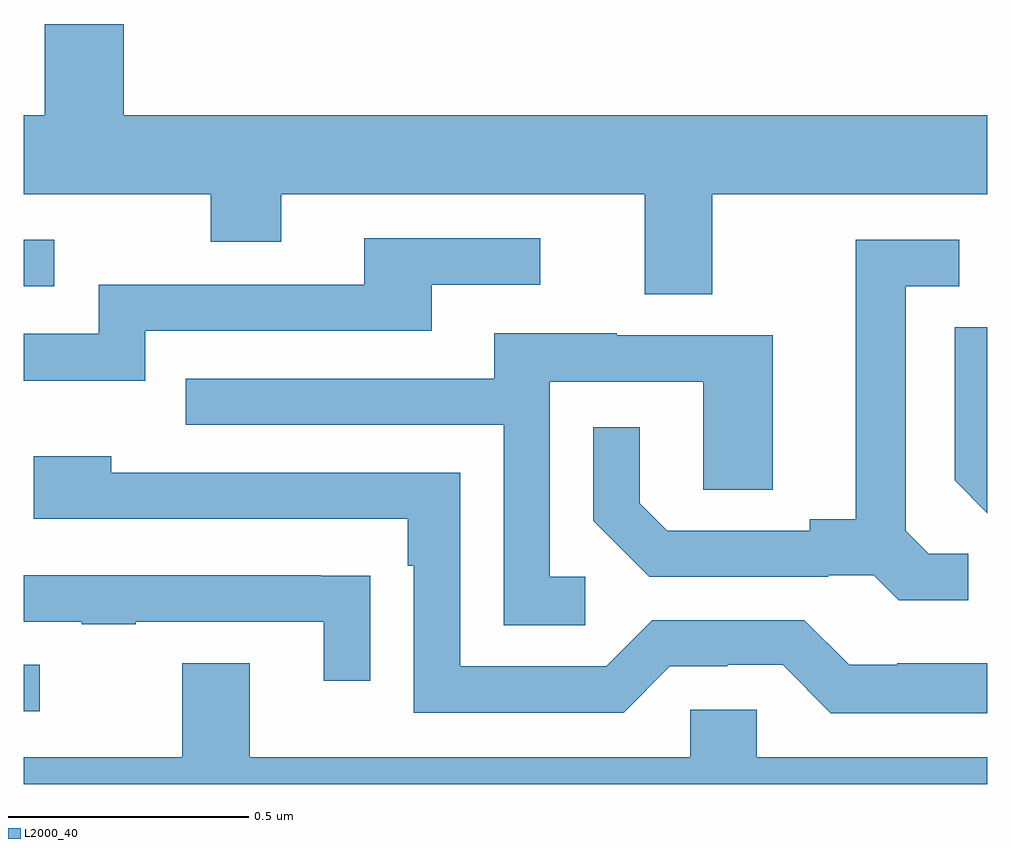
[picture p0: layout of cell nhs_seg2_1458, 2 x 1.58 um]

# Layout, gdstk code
import gdstk
lib = gdstk.Library(unit=1e-6, precision=1e-09)
def R(c, l, rs):  # rectangles x0, y0, x1, y1
    for r in rs: c.add(gdstk.rectangle(r[:2], r[2:], *l))
def P(c, l, *ps):  # polygons
    for p in ps: c.add(gdstk.Polygon(p, *l))
L2000_40 = (2000, 40)

nhs_seg2_1458 = lib.new_cell('nhs_seg2_1458')
R(nhs_seg2_1458, L2000_40, [(129,591.951,129.034,592.047), (129,592.833,129.064,592.929)])
P(nhs_seg2_1458, L2000_40, [(130.429,593.024),(131,593.024),(131,593.188),(129.208,593.188),(129.208,593.377),(129.044,593.377),(129.044,593.188),(129,593.188),(129,593.024),(129.388,593.024),(129.388,592.925),(129.535,592.925),(129.535,593.024),(130.289,593.024),(130.289,592.816),(130.429,592.816)],
  [(129.252,592.74),(129.847,592.74),(129.847,592.836),(130.072,592.836),(130.072,592.932),(129.707,592.932),(129.707,592.836),(129.156,592.836),(129.156,592.734),(129,592.734),(129,592.637),(129.252,592.637)],
  [(130.96,592.278),(130.878,592.278),(130.831,592.325),(130.831,592.833),(130.942,592.833),(130.942,592.929),(130.727,592.929),(130.727,592.349),(130.631,592.349),(130.631,592.326),(130.336,592.326),(130.279,592.383),(130.279,592.54),(130.182,592.54),(130.182,592.346),(130.298,592.23),(130.67,592.23),(130.67,592.233),(130.764,592.233),(130.816,592.181),(130.96,592.181)],
  [(131,592.748),(130.932,592.748),(130.932,592.43),(131,592.362)],
  [(130.165,592.23),(130.092,592.23),(130.092,592.635),(130.41,592.635),(130.41,592.411),(130.555,592.411),(130.555,592.731),(130.231,592.731),(130.231,592.735),(129.977,592.735),(129.977,592.641),(129.337,592.641),(129.337,592.545),(129.996,592.545),(129.996,592.129),(130.165,592.129)],
  [(131,592.051),(130.813,592.051),(130.813,592.047),(130.713,592.047),(130.62,592.14),(130.305,592.14),(130.209,592.044),(129.906,592.044),(129.906,592.446),(129.182,592.446),(129.182,592.48),(129.021,592.48),(129.021,592.35),(129.797,592.35),(129.797,592.253),(129.81,592.253),(129.81,591.948),(130.245,591.948),(130.341,592.044),(130.46,592.044),(130.46,592.047),(130.575,592.047),(130.675,591.947),(131,591.947)],
  [(129.719,592.232),(129.617,592.232),(129.617,592.233),(129,592.233),(129,592.137),(129.121,592.137),(129.121,592.132),(129.233,592.132),(129.233,592.137),(129.623,592.137),(129.623,592.014),(129.719,592.014)],
  [(131,591.856),(130.521,591.856),(130.521,591.954),(130.383,591.954),(130.383,591.856),(129.469,591.856),(129.469,592.051),(129.329,592.051),(129.329,591.856),(129,591.856),(129,591.8),(131,591.8)])

lib.write_gds('nhs_seg2_1458.gds')
